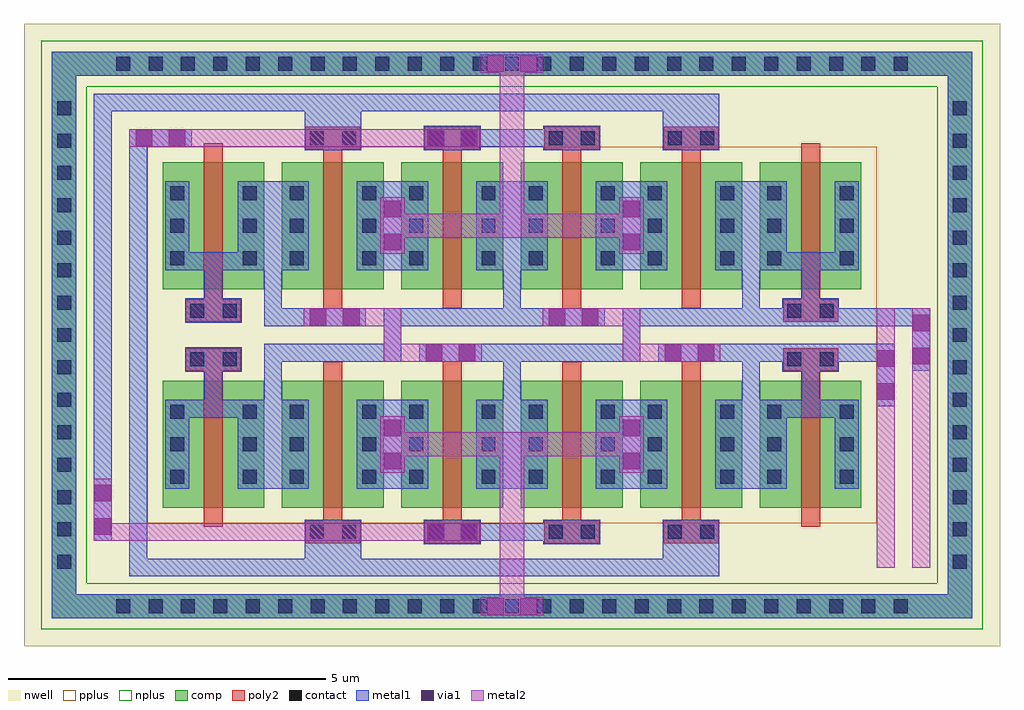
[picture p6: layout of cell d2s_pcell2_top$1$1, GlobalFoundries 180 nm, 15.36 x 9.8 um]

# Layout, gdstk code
import gdstk
lib = gdstk.Library(unit=1e-6, precision=5e-09)
def R(c, l, rs):  # rectangles x0, y0, x1, y1
    for r in rs: c.add(gdstk.rectangle(r[:2], r[2:], *l))
def A(c, l, x, y, w, h, nx, ny, dx, dy):  # array of equal rectangles
    R(c, l, [(x+i*dx, y+j*dy, x+i*dx+w, y+j*dy+h) for i in range(nx) for j in range(ny)])
nwell = (21, 0)
comp = (22, 0)
poly2 = (30, 0)
pplus = (31, 0)
nplus = (32, 0)
contact = (33, 0)
metal1 = (34, 0)
via1 = (35, 0)
metal2 = (36, 0)

d2s_pcell2_1_1_1_1_1 = lib.new_cell('d2s_pcell2_1$1$1$1$1')
R(d2s_pcell2_1_1_1_1_1, comp, [(0,0.3,0.46,2.3), (0.46,0.3,1.14,2.3), (1.14,0.3,1.6,2.3)])
R(d2s_pcell2_1_1_1_1_1, poly2, [(0.65,0,0.95,2.6)])
A(d2s_pcell2_1_1_1_1_1, contact, 0.12, 0.68, 0.22, 0.22, 1, 3, 0, 0.51)
A(d2s_pcell2_1_1_1_1_1, contact, 1.26, 0.68, 0.22, 0.22, 1, 3, 0, 0.51)
R(d2s_pcell2_1_1_1_1_1, metal1, [(0.04,0.6,0.42,2), (1.18,0.6,1.56,2)])

d2s_pcell2_4_1_1_1 = lib.new_cell('d2s_pcell2_4$1$1$1')
A(d2s_pcell2_4_1_1_1, poly2, 2.245, 2.725, 0.87, 0.36, 4, 1, 1.88, 0)
R(d2s_pcell2_4_1_1_1, poly2, [(0.365,0.01,1.235,0.37), (9.765,0.01,10.635,0.37)])
R(d2s_pcell2_4_1_1_1, contact, [(0.435,0.08,0.655,0.3), (0.945,0.08,1.165,0.3), (9.835,0.08,10.055,0.3), (10.345,0.08,10.565,0.3), (2.315,2.795,2.535,3.015), (2.825,2.795,3.045,3.015), (4.195,2.795,4.415,3.015), (4.705,2.795,4.925,3.015), (6.075,2.795,6.295,3.015), (6.585,2.795,6.805,3.015), (7.955,2.795,8.175,3.015), (8.465,2.795,8.685,3.015)])
A(d2s_pcell2_4_1_1_1, metal1, 1.56, 0.825, 0.36, 1.4, 5, 1, 1.88, 0)
R(d2s_pcell2_4_1_1_1, metal1, [(0.355,0,1.245,0.38), (9.755,0,10.645,0.38), (2.235,2.715,3.125,3.605), (4.115,2.715,5.005,3.095), (5.995,2.715,6.885,3.095), (7.875,2.715,8.765,3.605)])
R(d2s_pcell2_4_1_1_1, via1, [(3.49,1.135,3.75,1.395), (7.25,1.135,7.51,1.395), (3.49,1.655,3.75,1.915), (7.25,1.655,7.51,1.915), (4.17,2.775,4.43,3.035), (4.69,2.775,4.95,3.035)])
R(d2s_pcell2_4_1_1_1, metal2, [(3.43,1.08,3.81,1.97), (7.19,1.08,7.57,1.97)])
d2s_pcell2_4_1_1_1.add(gdstk.FlexPath([(10.2,0.38),(10.2,0.825)], 0.28, ends="flush", simple_path=True, layer=34, datatype=0))  # metal1
d2s_pcell2_4_1_1_1.add(gdstk.FlexPath([(10.58,0.965),(9.82,0.965)], 0.28, ends="flush", simple_path=True, layer=34, datatype=0))  # metal1
d2s_pcell2_4_1_1_1.add(gdstk.FlexPath([(0.8,0.38),(0.8,0.825)], 0.28, ends="flush", simple_path=True, layer=34, datatype=0))  # metal1
d2s_pcell2_4_1_1_1.add(gdstk.FlexPath([(1.18,0.965),(0.42,0.965)], 0.28, ends="flush", simple_path=True, layer=34, datatype=0))  # metal1
d2s_pcell2_4_1_1_1.add(gdstk.FlexPath([(5.995,2.905),(5.005,2.905)], 0.28, ends="flush", simple_path=True, layer=34, datatype=0))  # metal1
d2s_pcell2_4_1_1_1.add(gdstk.FlexPath([(8.765,3.465),(2.235,3.465)], 0.28, ends="flush", simple_path=True, layer=34, datatype=0))  # metal1
d2s_pcell2_4_1_1_1.add(gdstk.FlexPath([(3.81,1.525),(7.19,1.525)], 0.38, ends="flush", simple_path=True, layer=36, datatype=0))  # metal2
d2s_pcell2_4_1_1_1.add(gdstk.Reference(d2s_pcell2_1_1_1_1_1, (0,0.225)))
d2s_pcell2_4_1_1_1.add(gdstk.Reference(d2s_pcell2_1_1_1_1_1, (1.88,0.225)))
d2s_pcell2_4_1_1_1.add(gdstk.Reference(d2s_pcell2_1_1_1_1_1, (3.76,0.225)))
d2s_pcell2_4_1_1_1.add(gdstk.Reference(d2s_pcell2_1_1_1_1_1, (5.64,0.225)))
d2s_pcell2_4_1_1_1.add(gdstk.Reference(d2s_pcell2_1_1_1_1_1, (7.52,0.225)))
d2s_pcell2_4_1_1_1.add(gdstk.Reference(d2s_pcell2_1_1_1_1_1, (9.4,0.225)))

d2s_pcell2_top_1_1 = lib.new_cell('d2s_pcell2_top$1$1')
R(d2s_pcell2_top_1_1, nwell, [(0,0,15.36,9.8)])
R(d2s_pcell2_top_1_1, pplus, [(1.94,1.94,13.42,7.86)])
A(d2s_pcell2_top_1_1, contact, 1.45, 0.52, 0.22, 0.22, 25, 2, 0.51, 8.54)
A(d2s_pcell2_top_1_1, contact, 0.52, 1.22, 0.22, 0.22, 1, 15, 0, 0.51)
A(d2s_pcell2_top_1_1, contact, 14.62, 1.22, 0.22, 0.22, 1, 15, 0, 0.51)
R(d2s_pcell2_top_1_1, via1, [(7.29,0.5,7.55,0.76), (7.81,0.5,8.07,0.76), (1.11,1.76,1.37,2.02), (1.11,2.28,1.37,2.54), (13.43,3.88,13.69,4.14), (13.43,4.4,13.69,4.66), (13.99,4.44,14.25,4.7), (6.32,4.49,6.58,4.75), (6.84,4.49,7.1,4.75), (10.08,4.49,10.34,4.75), (10.6,4.49,10.86,4.75), (13.99,4.96,14.25,5.22), (4.5,5.05,4.76,5.31), (5.02,5.05,5.28,5.31), (8.26,5.05,8.52,5.31), (8.78,5.05,9.04,5.31), (1.76,7.87,2.02,8.13), (2.28,7.87,2.54,8.13), (7.29,9.04,7.55,9.3), (7.81,9.04,8.07,9.3)])
d2s_pcell2_top_1_1.add(gdstk.FlexPath([(11.44,5.92),(11.44,5.32)], 0.28, ends="flush", simple_path=True, layer=34, datatype=0))  # metal1
d2s_pcell2_top_1_1.add(gdstk.FlexPath([(7.68,5.92),(7.68,5.32)], 0.28, ends="flush", simple_path=True, layer=34, datatype=0))  # metal1
d2s_pcell2_top_1_1.add(gdstk.FlexPath([(3.92,5.92),(3.92,5.32)], 0.28, ends="flush", simple_path=True, layer=34, datatype=0))  # metal1
d2s_pcell2_top_1_1.add(gdstk.FlexPath([(7.2,5.18),(5.8,5.18),(5.8,4.62),(4.4,4.62)], 0.28, ends="flush", simple_path=True, layer=34, datatype=0))  # metal1
d2s_pcell2_top_1_1.add(gdstk.FlexPath([(5.38,5.18),(4.4,5.18)], 0.28, ends="flush", simple_path=True, layer=34, datatype=0))  # metal1
d2s_pcell2_top_1_1.add(gdstk.FlexPath([(7.2,4.62),(6.22,4.62)], 0.28, ends="flush", simple_path=True, layer=34, datatype=0))  # metal1
d2s_pcell2_top_1_1.add(gdstk.FlexPath([(7.2,5.18),(8.16,5.18)], 0.28, ends="flush", simple_path=True, layer=34, datatype=0))  # metal1
d2s_pcell2_top_1_1.add(gdstk.FlexPath([(7.2,4.62),(8.16,4.62)], 0.28, ends="flush", simple_path=True, layer=34, datatype=0))  # metal1
d2s_pcell2_top_1_1.add(gdstk.FlexPath([(4.4,5.18),(3.78,5.18)], 0.28, ends="flush", simple_path=True, layer=34, datatype=0))  # metal1
d2s_pcell2_top_1_1.add(gdstk.FlexPath([(4.4,4.62),(3.78,4.62)], 0.28, ends="flush", simple_path=True, layer=34, datatype=0))  # metal1
d2s_pcell2_top_1_1.add(gdstk.FlexPath([(7.68,5.92),(7.68,5.32)], 0.28, ends="flush", simple_path=True, layer=34, datatype=0))  # metal1
d2s_pcell2_top_1_1.add(gdstk.FlexPath([(10.96,5.18),(9.56,5.18),(9.56,4.62),(8.16,4.62)], 0.28, ends="flush", simple_path=True, layer=34, datatype=0))  # metal1
d2s_pcell2_top_1_1.add(gdstk.FlexPath([(9.14,5.18),(8.16,5.18)], 0.28, ends="flush", simple_path=True, layer=34, datatype=0))  # metal1
d2s_pcell2_top_1_1.add(gdstk.FlexPath([(10.96,4.62),(9.98,4.62)], 0.28, ends="flush", simple_path=True, layer=34, datatype=0))  # metal1
d2s_pcell2_top_1_1.add(gdstk.FlexPath([(11.58,5.18),(10.96,5.18)], 0.28, ends="flush", simple_path=True, layer=34, datatype=0))  # metal1
d2s_pcell2_top_1_1.add(gdstk.FlexPath([(11.58,4.62),(10.96,4.62)], 0.28, ends="flush", simple_path=True, layer=34, datatype=0))  # metal1
d2s_pcell2_top_1_1.add(gdstk.FlexPath([(11.44,4.48),(11.44,3.88)], 0.28, ends="flush", simple_path=True, layer=34, datatype=0))  # metal1
d2s_pcell2_top_1_1.add(gdstk.FlexPath([(7.68,4.48),(7.68,3.88)], 0.28, ends="flush", simple_path=True, layer=34, datatype=0))  # metal1
d2s_pcell2_top_1_1.add(gdstk.FlexPath([(3.92,4.48),(3.92,3.88)], 0.28, ends="flush", simple_path=True, layer=34, datatype=0))  # metal1
d2s_pcell2_top_1_1.add(gdstk.FlexPath([(7.68,4.48),(7.68,3.88)], 0.28, ends="flush", simple_path=True, layer=34, datatype=0))  # metal1
d2s_pcell2_top_1_1.add(gdstk.FlexPath([(14.12,5.32),(14.12,4.34)], 0.28, ends="flush", simple_path=True, layer=34, datatype=0))  # metal1
d2s_pcell2_top_1_1.add(gdstk.FlexPath([(13.56,4.76),(13.56,3.78)], 0.28, ends="flush", simple_path=True, layer=34, datatype=0))  # metal1
d2s_pcell2_top_1_1.add(gdstk.FlexPath([(11.58,4.62),(13.7,4.62)], 0.28, ends="flush", simple_path=True, layer=34, datatype=0))  # metal1
d2s_pcell2_top_1_1.add(gdstk.FlexPath([(14.73,9.36),(14.73,0.63),(0.63,0.63),(0.63,9.17),(14.54,9.17)], 0.38, ends="flush", simple_path=True, layer=34, datatype=0))  # metal1
d2s_pcell2_top_1_1.add(gdstk.FlexPath([(11.58,5.18),(13.98,5.18)], 0.28, ends="flush", simple_path=True, layer=34, datatype=0))  # metal1
d2s_pcell2_top_1_1.add(gdstk.FlexPath([(1.8,8.14),(1.8,1.38)], 0.28, ends="flush", simple_path=True, layer=34, datatype=0))  # metal1
d2s_pcell2_top_1_1.add(gdstk.FlexPath([(4.415,1.24),(1.66,1.24)], 0.28, ends="flush", simple_path=True, layer=34, datatype=0))  # metal1
d2s_pcell2_top_1_1.add(gdstk.FlexPath([(2.64,8),(1.66,8)], 0.28, ends="flush", simple_path=True, layer=34, datatype=0))  # metal1
d2s_pcell2_top_1_1.add(gdstk.FlexPath([(1.24,8.7),(1.24,1.66)], 0.28, ends="flush", simple_path=True, layer=34, datatype=0))  # metal1
d2s_pcell2_top_1_1.add(gdstk.FlexPath([(4.415,8.56),(1.38,8.56)], 0.28, ends="flush", simple_path=True, layer=34, datatype=0))  # metal1
d2s_pcell2_top_1_1.add(gdstk.FlexPath([(14.73,9.36),(14.73,0.63),(0.63,0.63),(0.63,9.17),(14.54,9.17)], 0.38, ends="flush", simple_path=True, layer=22, datatype=0))  # comp
d2s_pcell2_top_1_1.add(gdstk.FlexPath([(7.68,9.03),(7.68,6.81)], 0.38, ends="flush", simple_path=True, layer=36, datatype=0))  # metal2
d2s_pcell2_top_1_1.add(gdstk.FlexPath([(7.68,0.77),(7.68,2.99)], 0.38, ends="flush", simple_path=True, layer=36, datatype=0))  # metal2
d2s_pcell2_top_1_1.add(gdstk.FlexPath([(7.19,0.63),(8.17,0.63)], 0.28, ends="flush", simple_path=True, layer=36, datatype=0))  # metal2
d2s_pcell2_top_1_1.add(gdstk.FlexPath([(7.19,9.17),(8.17,9.17)], 0.28, ends="flush", simple_path=True, layer=36, datatype=0))  # metal2
d2s_pcell2_top_1_1.add(gdstk.FlexPath([(10.96,4.62),(9.56,4.62),(9.56,5.18),(8.16,5.18)], 0.28, ends="flush", simple_path=True, layer=36, datatype=0))  # metal2
d2s_pcell2_top_1_1.add(gdstk.FlexPath([(7.2,4.62),(5.8,4.62),(5.8,5.18),(4.4,5.18)], 0.28, ends="flush", simple_path=True, layer=36, datatype=0))  # metal2
d2s_pcell2_top_1_1.add(gdstk.FlexPath([(14.12,5.32),(14.12,1.235)], 0.28, ends="flush", simple_path=True, layer=36, datatype=0))  # metal2
d2s_pcell2_top_1_1.add(gdstk.FlexPath([(14.12,5.32),(14.12,4.34)], 0.28, ends="flush", simple_path=True, layer=36, datatype=0))  # metal2
d2s_pcell2_top_1_1.add(gdstk.FlexPath([(13.56,4.76),(13.56,3.78)], 0.28, ends="flush", simple_path=True, layer=36, datatype=0))  # metal2
d2s_pcell2_top_1_1.add(gdstk.FlexPath([(13.56,5.32),(13.56,1.235)], 0.28, ends="flush", simple_path=True, layer=36, datatype=0))  # metal2
d2s_pcell2_top_1_1.add(gdstk.FlexPath([(7.19,8),(1.66,8)], 0.28, ends="flush", simple_path=True, layer=36, datatype=0))  # metal2
d2s_pcell2_top_1_1.add(gdstk.FlexPath([(7.19,1.8),(1.38,1.8)], 0.28, ends="flush", simple_path=True, layer=36, datatype=0))  # metal2
d2s_pcell2_top_1_1.add(gdstk.FlexPath([(1.24,1.66),(1.24,2.64)], 0.28, ends="flush", simple_path=True, layer=36, datatype=0))  # metal2
d2s_pcell2_top_1_1.add(gdstk.FlexPath([(14.73,9.53),(14.73,0.63),(0.63,0.63),(0.63,9.17),(15.09,9.17)], 0.72, ends="flush", simple_path=True, layer=32, datatype=0))  # nplus
d2s_pcell2_top_1_1.add(gdstk.Reference(d2s_pcell2_4_1_1_1, (2.18,5.095)))
d2s_pcell2_top_1_1.add(gdstk.Reference(d2s_pcell2_4_1_1_1, (2.18,4.705), x_reflection=True))

lib.write_gds('d2s_pcell2_top_1_1.gds')
